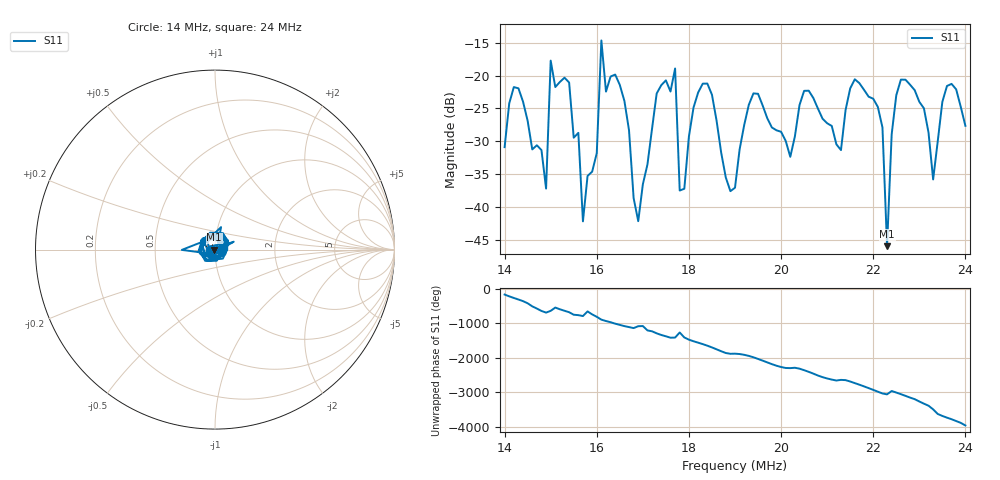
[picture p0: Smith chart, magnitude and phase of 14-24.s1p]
# HZ S RI R 50
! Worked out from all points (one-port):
!   101 points, 14 MHz to 24 MHz, reference 50 ohm
!   lowest |S11| = -46.0 dB at 22.3 MHz (marker M1), VSWR 1.01, Z = 49.5 - j0.0172 ohm
!   |S11| at or under -10 dB: start of sweep to end of sweep
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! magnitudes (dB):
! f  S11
! 14 MHz  -30.9
! 14.3 MHz  -21.9
! 14.9 MHz  -37.2
! 15 MHz  -17.7
! 15.3 MHz  -20.3
! 15.6 MHz  -28.7
! 15.7 MHz  -42.2
! 16 MHz  -31.8
! 16.1 MHz  -14.7
! 16.5 MHz  -21.4
! 16.9 MHz  -42.2
! 17.3 MHz  -22.7
! 17.7 MHz  -18.9
! 17.8 MHz  -37.5
! 18.3 MHz  -21.2
! 19 MHz  -37.1
! 19.4 MHz  -22.7
! 20.3 MHz  -29.3
! 20.6 MHz  -22.3
! 21.3 MHz  -31.4
! 21.5 MHz  -22.0
! 22.1 MHz  -24.8
! 22.3 MHz  -46.0
! 22.5 MHz  -23.0
! 22.8 MHz  -21.4
! 23.3 MHz  -35.8
! 23.6 MHz  -21.6
! 24 MHz  -27.7
